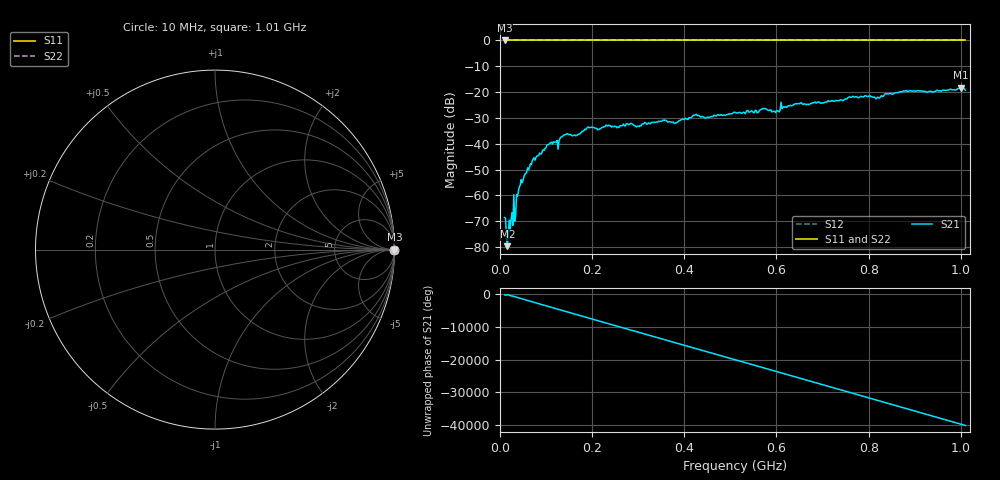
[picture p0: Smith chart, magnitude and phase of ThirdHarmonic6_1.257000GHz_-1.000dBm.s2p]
! 8/16/2025 1:29:29 PM
! C:\ANRITSUVNA\TEMP\TEMP.S2P
! CHANNEL.1
! TR.MEASUREMENT
! RAW.DATA
! RF.CORRECTION.OFF
! AVERAGING.OFF
! IF.BANDWIDTH: 5KHZ
! SWEEPTYPE:  FREQ.SWEEP(Linear)
! Reference Plane Port Info
! PORT:  PORT1  PORT2
! DISTANCE:  0  m  0  m
! TIME:  0  s  0  s
! PHASE.OFFSET:  0  deg.  0  deg.
! LOSS:  0  dB  0  dB
! REF.LOSS:  0  dB  0  dB
! REF.FREQ:  0  Hz  0  Hz
! Power Info
! POWER:  -20  dBm  -20  dBm
! EFF.POWER:  -20  dBm  -20  dBm
! SOURCE.ATTEN:  0  dB  0  dB
! TEST.ATTEN:  0  dB  0  dB
# GHZ S RI R 50.0
! FREQ.GHZ  S11RE  S11IM  S21RE  S21IM  S12RE  S12IM  S22RE  S22IM
!; PortSelection: Port_12
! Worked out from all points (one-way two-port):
!   501 points, 10 MHz to 1.01 GHz, reference 50 ohm
!   highest |S21| = -18.28 dB at 1 GHz (marker M1); lowest = -79.6 dB at 16 MHz (marker M2)
!   lowest |S11| = 0.0 dB at 10 MHz (marker M3)
!   |S11| at or under -10 dB: nowhere
!   |S22| runs from 0.0 to 0.0 dB; largest |S21 - S12| = 1.1
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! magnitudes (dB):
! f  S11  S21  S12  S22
! 10 MHz  0.0  -68.5  0.0  0.0
! 16 MHz  0.0  -79.6  0.0  0.0
! 18 MHz  0.0  -74.9  0.0  0.0
! 26 MHz  0.0  -66.7  0.0  0.0
! 30 MHz  0.0  -59.7  0.0  0.0
! 44 MHz  0.0  -56.0  0.0  0.0
! 70 MHz  0.0  -46.5  0.0  0.0
! 106 MHz  0.0  -40.2  0.0  0.0
! 124 MHz  0.0  -38.7  0.0  0.0
! 142 MHz  0.0  -36.5  0.0  0.0
! 178 MHz  0.0  -35.3  0.0  0.0
! 194 MHz  0.0  -33.8  0.0  0.0
! 344 MHz  0.0  -31.3  0.0  0.0
! 382 MHz  0.0  -31.9  0.0  0.0
! 422 MHz  0.0  -29.0  0.0  0.0
! 510 MHz  0.0  -27.9  0.0  0.0
! 602 MHz  0.0  -27.3  0.0  0.0
! 614 MHz  0.0  -25.9  0.0  0.0
! 678 MHz  0.0  -24.2  0.0  0.0
! 844 MHz  0.0  -20.7  0.0  0.0
! 1 GHz  0.0  -18.3  0.0  0.0
! 1.01 GHz  0.0  -19.3  0.0  0.0
